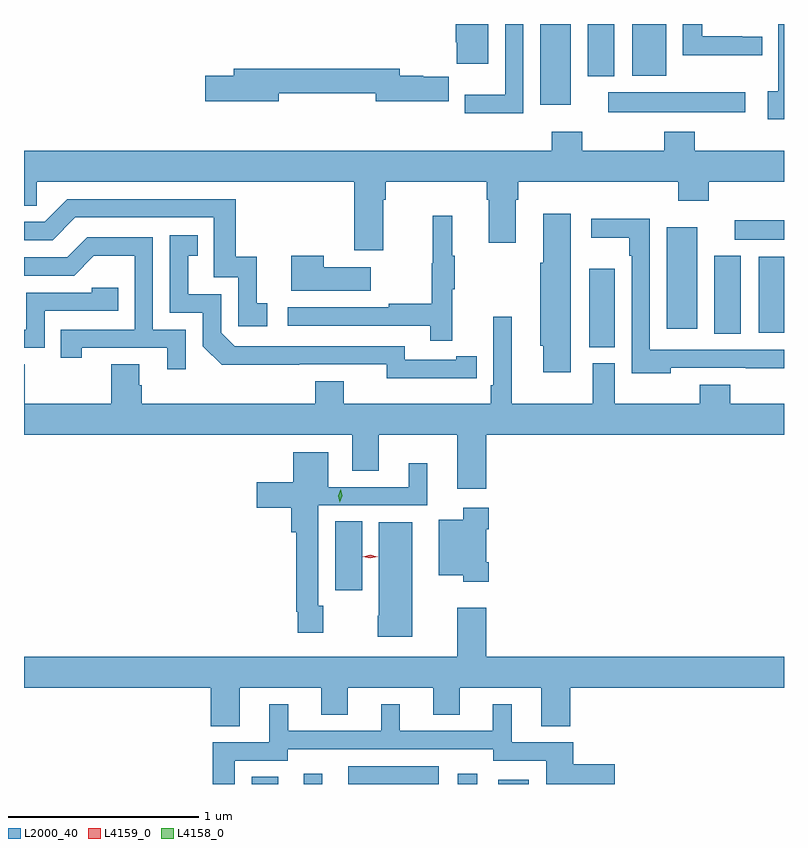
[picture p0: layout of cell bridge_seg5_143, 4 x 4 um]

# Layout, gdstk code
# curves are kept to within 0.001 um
import gdstk
lib = gdstk.Library(unit=1e-6, precision=1e-09)
def R(c, l, rs):  # rectangles x0, y0, x1, y1
    for r in rs: c.add(gdstk.rectangle(r[:2], r[2:], *l))
def P(c, l, *ps):  # polygons
    for p in ps: c.add(gdstk.Polygon(p, *l))
L2000_40 = (2000, 40)
L4158_0 = (4158, 0)
L4159_0 = (4159, 0)

bridge_seg5_143 = lib.new_cell('bridge_seg5_143')
R(bridge_seg5_143, L2000_40, [(350.951,893.55,351.091,893.587), (351.224,893.55,351.322,893.605), (351.459,893.55,351.934,893.644), (352.034,893.55,352.138,893.605), (352.247,893.55,352.408,893.572), (351.389,894.57,351.532,894.932), (352.727,895.849,352.861,896.263), (353.384,895.921,353.524,896.329), (353.618,895.925,353.752,896.326), (353.135,895.947,353.296,896.479), (353.493,896.414,353.752,896.518), (352.827,897.086,353.548,897.19), (352.469,897.126,352.63,897.55), (352.718,897.275,352.858,897.55), (352.952,897.278,353.131,897.55)])
P(bridge_seg5_143, L2000_40, [(353.752,897.55),(353.723,897.55),(353.723,897.195),(353.667,897.195),(353.667,897.05),(353.752,897.05)],
  [(352.38,897.55),(352.284,897.55),(352.284,897.178),(352.073,897.178),(352.073,897.08),(352.38,897.08)],
  [(352.195,897.55),(352.025,897.55),(352.025,897.454),(352.03,897.454),(352.03,897.342),(352.195,897.342)],
  [(353.638,897.484),(353.531,897.484),(353.531,897.486),(353.323,897.486),(353.323,897.55),(353.219,897.55),(353.219,897.386),(353.638,897.386)],
  [(351.094,897.186),(351.602,897.186),(351.602,897.143),(351.988,897.143),(351.988,897.272),(351.852,897.272),(351.852,897.278),(351.73,897.278),(351.73,897.314),(350.855,897.314),(350.855,897.278),(350.706,897.278),(350.706,897.143),(351.094,897.143)],
  [(351.643,896.624),(351.656,896.624),(351.656,896.72),(352.187,896.72),(352.187,896.624),(352.199,896.624),(352.199,896.4),(352.339,896.4),(352.339,896.624),(352.352,896.624),(352.352,896.72),(353.195,896.72),(353.195,896.621),(353.355,896.621),(353.355,896.72),(353.752,896.72),(353.752,896.884),(353.282,896.884),(353.282,896.983),(353.122,896.983),(353.122,896.884),(352.689,896.884),(352.689,896.983),(352.529,896.983),(352.529,896.884),(349.752,896.884),(349.752,896.593),(349.818,896.593),(349.818,896.72),(351.491,896.72),(351.491,896.358),(351.643,896.358)],
  [(351.031,896.079),(350.978,896.079),(350.978,896.326),(350.867,896.326),(350.867,896.628),(349.98,896.628),(349.86,896.508),(349.752,896.508),(349.752,896.412),(349.902,896.412),(350.022,896.532),(350.751,896.532),(350.751,896.217),(350.88,896.217),(350.88,895.959),(351.031,895.959)],
  [(352.63,896.551),(352.484,896.551),(352.484,896.293),(352.469,896.293),(352.469,895.857),(352.484,895.857),(352.484,895.716),(352.63,895.716)],
  [(352.007,896.155),(352.018,896.155),(352.018,896.329),(352.007,896.329),(352.007,896.542),(351.904,896.542),(351.904,896.292),(351.897,896.292),(351.897,896.078),(351.673,896.078),(351.673,896.058),(351.141,896.058),(351.141,895.962),(351.889,895.962),(351.889,895.884),(352.007,895.884)],
  [(353.157,895.74),(353.551,895.74),(353.551,895.739),(353.752,895.739),(353.752,895.836),(353.046,895.836),(353.046,896.525),(352.737,896.525),(352.737,896.426),(352.938,896.426),(352.938,896.33),(352.95,896.33),(352.95,895.712),(353.157,895.712)],
  [(352.028,895.686),(352.136,895.686),(352.136,895.802),(352.028,895.802),(352.028,895.782),(351.756,895.782),(351.756,895.854),(350.862,895.854),(350.79,895.926),(350.79,896.127),(350.617,896.127),(350.617,896.331),(350.666,896.331),(350.666,896.437),(350.52,896.437),(350.52,896.031),(350.694,896.031),(350.694,895.854),(350.792,895.757),(351.66,895.758),(351.66,895.685)],
  [(350.604,895.941),(350.43,895.941),(350.43,896.427),(350.084,896.427),(349.979,896.322),(349.752,896.322),(349.752,896.226),(350.016,896.226),(350.12,896.33),(350.334,896.33),(350.334,895.941),(349.945,895.941),(349.945,895.794),(350.056,895.794),(350.056,895.845),(350.507,895.845),(350.507,895.734),(350.604,895.734)],
  [(351.577,896.269),(351.329,896.269),(351.329,896.329),(351.158,896.329),(351.158,896.147),(351.577,896.147)],
  [(349.86,896.04),(350.249,896.04),(350.249,896.163),(350.109,896.163),(350.109,896.136),(349.764,896.136),(349.764,895.941),(349.752,895.941),(349.752,895.845),(349.86,895.845)],
  [(352.184,895.388),(353.752,895.388),(353.752,895.552),(353.468,895.552),(353.468,895.651),(353.308,895.651),(353.308,895.552),(352.861,895.552),(352.861,895.764),(352.745,895.764),(352.745,895.552),(352.318,895.552),(352.318,896.008),(352.221,896.008),(352.221,895.648),(352.208,895.648),(352.208,895.552),(351.436,895.552),(351.436,895.669),(351.284,895.669),(351.284,895.552),(350.372,895.552),(350.372,895.65),(350.359,895.65),(350.359,895.76),(350.212,895.76),(350.212,895.552),(349.755,895.552),(349.755,895.76),(349.752,895.76),(349.752,895.388),(351.479,895.388),(351.479,895.198),(351.619,895.198),(351.619,895.388),(352.031,895.388),(352.031,895.104),(352.184,895.104)],
  [(351.327,894.489),(351.3,894.489),(351.3,895.017),(351.874,895.017),(351.874,895.237),(351.776,895.237),(351.776,895.113),(351.352,895.113),(351.352,895.297),(351.17,895.297),(351.17,895.138),(350.976,895.138),(350.976,895.004),(351.158,895.004),(351.158,894.875),(351.184,894.875),(351.184,894.457),(351.192,894.457),(351.192,894.345),(351.327,894.345)],
  [(352.199,894.718),(352.186,894.718),(352.186,894.89),(352.199,894.89),(352.199,895.003),(352.064,895.003),(352.064,894.94),(351.935,894.94),(351.935,894.65),(352.064,894.65),(352.064,894.614),(352.199,894.614)],
  [(351.796,894.928),(351.62,894.928),(351.62,894.436),(351.613,894.436),(351.613,894.324),(351.796,894.324)],
  [(350.887,894.056),(351.317,894.056),(351.317,893.914),(351.457,893.914),(351.457,894.056),(351.905,894.056),(351.905,893.914),(352.045,893.914),(352.045,894.056),(352.475,894.056),(352.475,893.854),(352.628,893.854),(352.628,894.056),(353.752,894.056),(353.752,894.22),(352.184,894.22),(352.184,894.478),(352.031,894.478),(352.031,894.22),(349.752,894.22),(349.752,894.056),(350.735,894.056),(350.735,893.854),(350.887,893.854)],
  [(350.862,893.673),(351.141,893.673),(351.141,893.733),(352.221,893.733),(352.221,893.673),(352.5,893.673),(352.5,893.55),(352.861,893.55),(352.861,893.655),(352.643,893.655),(352.643,893.769),(352.318,893.769),(352.318,893.971),(352.22,893.971),(352.22,893.829),(351.73,893.829),(351.73,893.971),(351.632,893.971),(351.632,893.829),(351.142,893.829),(351.142,893.971),(351.044,893.971),(351.044,893.769),(350.746,893.769),(350.746,893.55),(350.862,893.55)])
P(bridge_seg5_143, L4158_0, [(351.415,895.032),(351.415,895.032),(351.407,895.067),(351.418,895.101),(351.418,895.102),(351.418,895.101),(351.427,895.066),(351.415,895.032)])
P(bridge_seg5_143, L4159_0, [(351.575,894.737),(351.535,894.746),(351.535,894.747),(351.535,894.747),(351.575,894.757),(351.615,894.747),(351.615,894.747),(351.615,894.746)])

lib.write_gds('bridge_seg5_143.gds')
